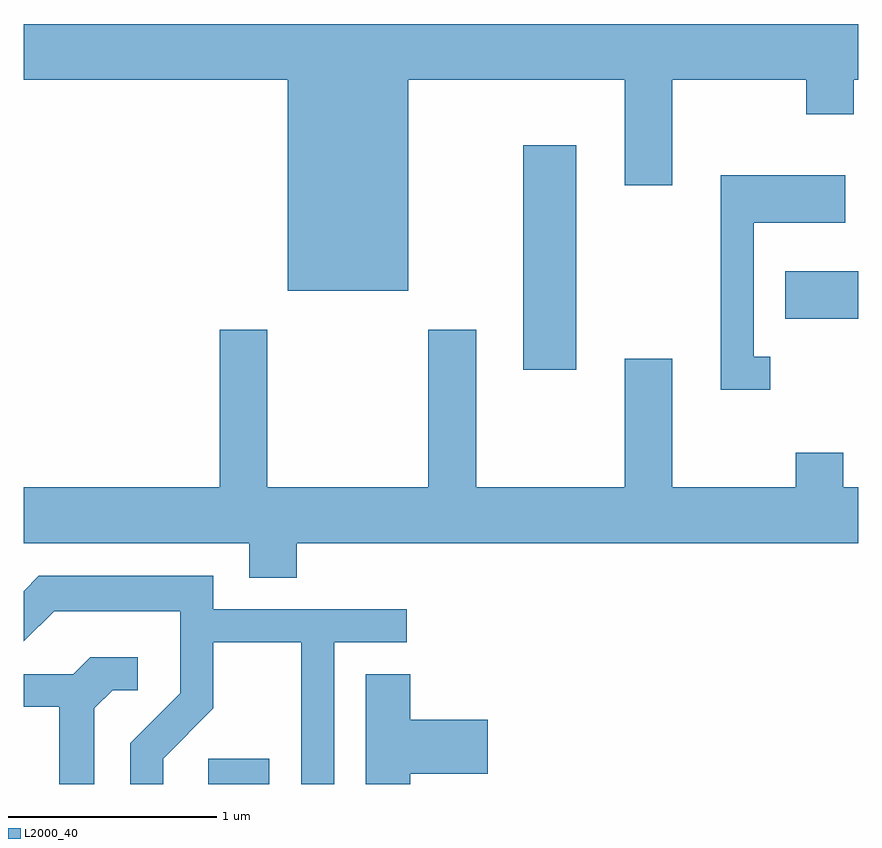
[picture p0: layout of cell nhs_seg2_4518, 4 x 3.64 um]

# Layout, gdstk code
import gdstk
lib = gdstk.Library(unit=1e-6, precision=1e-09)
def R(c, l, rs):  # rectangles x0, y0, x1, y1
    for r in rs: c.add(gdstk.rectangle(r[:2], r[2:], *l))
def P(c, l, *ps):  # polygons
    for p in ps: c.add(gdstk.Polygon(p, *l))
L2000_40 = (2000, 40)

nhs_seg2_4518 = lib.new_cell('nhs_seg2_4518')
R(nhs_seg2_4518, L2000_40, [(318.496,1073.802,318.789,1073.924), (320.006,1075.786,320.259,1076.864), (321.261,1076.031,321.611,1076.259)])
P(nhs_seg2_4518, L2000_40, [(319.454,1077.176),(320.491,1077.176),(320.491,1076.671),(320.719,1076.671),(320.719,1077.176),(321.361,1077.176),(321.361,1077.011),(321.589,1077.011),(321.589,1077.176),(321.611,1077.176),(321.611,1077.444),(317.611,1077.444),(317.611,1077.176),(318.876,1077.176),(318.876,1076.166),(319.454,1076.166)],
  [(321.188,1075.849),(321.109,1075.849),(321.109,1076.491),(321.549,1076.491),(321.549,1076.719),(320.951,1076.719),(320.951,1075.691),(321.188,1075.691)],
  [(318.919,1074.956),(321.611,1074.956),(321.611,1075.224),(321.539,1075.224),(321.539,1075.389),(321.311,1075.389),(321.311,1075.224),(320.719,1075.224),(320.719,1075.839),(320.491,1075.839),(320.491,1075.224),(319.779,1075.224),(319.779,1075.979),(319.551,1075.979),(319.551,1075.224),(318.779,1075.224),(318.779,1075.979),(318.551,1075.979),(318.551,1075.224),(317.611,1075.224),(317.611,1074.956),(318.691,1074.956),(318.691,1074.791),(318.919,1074.791)],
  [(318.279,1073.924),(318.519,1074.164),(318.519,1074.481),(318.941,1074.481),(318.941,1073.802),(319.099,1073.802),(319.099,1074.481),(319.448,1074.481),(319.448,1074.639),(318.519,1074.639),(318.519,1074.799),(317.684,1074.799),(317.611,1074.726),(317.611,1074.485),(317.757,1074.631),(318.361,1074.631),(318.361,1074.237),(318.121,1073.997),(318.121,1073.802),(318.279,1073.802)],
  [(317.949,1074.164),(318.037,1074.251),(318.158,1074.251),(318.158,1074.409),(317.929,1074.409),(317.849,1074.329),(317.611,1074.329),(317.611,1074.171),(317.781,1074.171),(317.781,1073.802),(317.949,1073.802)],
  [(319.464,1073.851),(319.834,1073.851),(319.834,1074.109),(319.464,1074.109),(319.464,1074.329),(319.251,1074.329),(319.251,1073.802),(319.464,1073.802)])

lib.write_gds('nhs_seg2_4518.gds')
